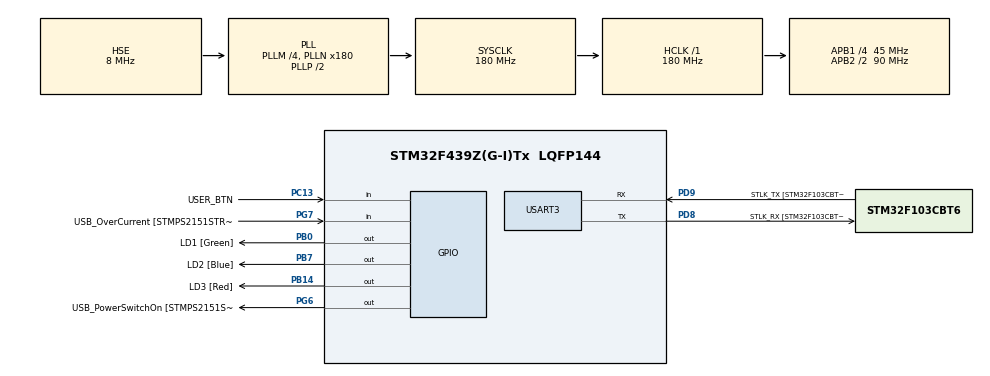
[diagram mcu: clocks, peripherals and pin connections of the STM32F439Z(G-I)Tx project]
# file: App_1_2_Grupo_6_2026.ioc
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Mcu.Family=STM32F4
Mcu.Name=STM32F439Z(G-I)Tx
Mcu.Package=LQFP144
NVIC.PriorityGroup=NVIC_PRIORITYGROUP_4
PA13.GPIO_Label=TMS
PA13.Mode=Serial_Wire
PA13.Signal=SYS_JTMS-SWDIO
PA14.GPIO_Label=TCK
PA14.Mode=Serial_Wire
PA14.Signal=SYS_JTCK-SWCLK
PB0.GPIO_Label=LD1 [Green]
PB0.Signal=GPIO_Output
PB14.GPIO_Label=LD3 [Red]
PB14.Signal=GPIO_Output
PB7.GPIO_Label=LD2 [Blue]
PB7.Signal=GPIO_Output
PC13.GPIO_Label=USER_BTN
PC13.Signal=GPIO_Input
PC14/OSC32_IN.Mode=LSE-External-Oscillator
PC14/OSC32_IN.Signal=RCC_OSC32_IN
PC15/OSC32_OUT.Mode=LSE-External-Oscillator
PC15/OSC32_OUT.Signal=RCC_OSC32_OUT
PD8.GPIO_Label=STLK_RX [STM32F103CBT6_PA3]
PD8.Mode=Asynchronous
PD8.Signal=USART3_TX
PD9.GPIO_Label=STLK_TX [STM32F103CBT6_PA2]
PD9.Mode=Asynchronous
PD9.Signal=USART3_RX
PG6.GPIO_Label=USB_PowerSwitchOn [STMPS2151STR_EN]
PG6.Signal=GPIO_Output
PG7.GPIO_Label=USB_OverCurrent [STMPS2151STR_FAULT]
PG7.Signal=GPIO_Input
PH0/OSC_IN.GPIO_Label=MCO [STM32F103CBT6_PA8]
PH0/OSC_IN.Mode=HSE-External-Oscillator
PH0/OSC_IN.Signal=RCC_OSC_IN
PH1/OSC_OUT.Mode=HSE-External-Oscillator
PH1/OSC_OUT.Signal=RCC_OSC_OUT
ProjectManager.HeapSize=0x200
ProjectManager.StackSize=0x400
ProjectManager.TargetToolchain=STM32CubeIDE
RCC.48MHZClocksFreq_Value=51428571.428571425
RCC.AHBFreq_Value=180000000
RCC.APB1CLKDivider=RCC_HCLK_DIV4
RCC.APB1Freq_Value=45000000
RCC.APB1TimFreq_Value=90000000
RCC.APB2CLKDivider=RCC_HCLK_DIV2
RCC.APB2Freq_Value=90000000
RCC.APB2TimFreq_Value=180000000
RCC.CortexFreq_Value=180000000
RCC.HCLKFreq_Value=180000000
RCC.HSE_VALUE=8000000
RCC.HSI_VALUE=16000000
RCC.PLLM=4
RCC.PLLMUL=RCC_PLL_MUL9
RCC.PLLN=180
RCC.PLLQ=7
RCC.PLLSourceVirtual=RCC_PLLSOURCE_HSE
RCC.PRESCALERUSB=RCC_USBCLKSOURCE_PLL_DIV1_5
RCC.SYSCLKFreq_VALUE=180000000
RCC.SYSCLKSource=RCC_SYSCLKSOURCE_PLLCLK
RCC.SYSCLKSourceVirtual=RCC_SYSCLKSOURCE_PLLCLK
RCC.USBFreq_Value=48000000
RCC.VCOOutputFreq_Value=360000000
USART3.VirtualMode=VM_ASYNC
board=NUCLEO-F439ZI

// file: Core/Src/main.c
/* USER CODE BEGIN Header */
/**
 ******************************************************************************
 * @file           : main.c
 * @brief          : Main program body
 ******************************************************************************
 * @attention
 *
 * Copyright (c) 2026 STMicroelectronics.
 * All rights reserved.
 *
 * This software is licensed under terms that can be found in the LICENSE file
 * in the root directory of this software component.
 * If no LICENSE file comes with this software, it is provided AS-IS.
 *
 ******************************************************************************
 */
/* USER CODE END Header */
#include "main.h"

/* USER CODE BEGIN Includes */
#include "stdbool.h"
/* USER CODE END Includes */

/* USER CODE BEGIN PTD */

/** * @brief Estructura para el mapeo de hardware.
 * Permite desacoplar la lógica de control de los pines físicos.
 */
typedef struct{
	GPIO_TypeDef* port;  	// Puntero a la estructura de registros del puerto (GPIOA, GPIOB, etc.)
	uint16_t pin;       	// Máscara del pin (GPIO_PIN_0, etc.)
} GPIO_Config_t;

/** * @brief Definición de estados para la MEF.
 */
typedef enum{
	Estado_Encendido = 0,
	Estado_Apagado
} Estado_t;

/* USER CODE END PTD */

UART_HandleTypeDef huart3;

/* USER CODE BEGIN PV */

/** * @brief Arreglo de configuración de hardware.
 * Se define como 'const' para residir en Flash y ahorrar RAM.
 */
const GPIO_Config_t leds_array [] = {
		{LD1_GPIO_Port, LD1_Pin},
		{LD2_GPIO_Port, LD2_Pin},
		{LD3_GPIO_Port, LD3_Pin}
};

const uint8_t cant_leds = sizeof (leds_array) / sizeof(leds_array[0]);	// Se calcula automaticamente la cantidad de elementos del array
const uint32_t tiempo = 200;											// Valor constante para las transciciones de Encendido-Apagado
static int indice = 0;													// Variable que iterara el arreglo
static Estado_t estado = Estado_Encendido;								// Estado inicial de la MEF
static int8_t sentido = 1;												// Variable de Estado que determina el sentido de encendido de los leds
static bool btn_presionado = false;										// Bandera para la deteccion de flancos

/* USER CODE END PV */

void SystemClock_Config(void);
static void MX_GPIO_Init(void);
static void MX_USART3_UART_Init(void);

int main(void)
{

	/* MCU Configuration--------------------------------------------------------*/

	/* Reset of all peripherals, Initializes the Flash interface and the Systick. */
	HAL_Init();

	/* Configure the system clock */
	SystemClock_Config();

	/* Initialize all configured peripherals */
	MX_GPIO_Init();
	MX_USART3_UART_Init();

	/* Infinite loop */
	while (1)
	{

		/* USER CODE BEGIN 3 */

				/* 1. Detección de flanco (no bloqueante) */
		        /**
		         * @brief Detector de flanco positivo para el pulsador de usuario.
		         * @details Implementa una lógica de captura de evento única por pulsación (edge).
		         * Al usar una bandera, se evita la repetición de la acción mientras el usuario
		         * mantiene el botón presionado, garantizando una respuesta determinista.
		         */
		        if (HAL_GPIO_ReadPin(USER_BTN_GPIO_Port, USER_BTN_Pin) == GPIO_PIN_SET) {
		            if (!btn_presionado) {
		                sentido *= -1;         // Inversión de dirección (sentido de giro)
		                btn_presionado = true; // Bloquea la acción hasta que se suelte el botón
		            }
		        } else {
		            btn_presionado = false;    // Resetea la bandera al soltar el botón
		        }

		        /* 2. Máquina de Estados (MEF) */
		        /**
		         * @brief Máquina de Estados Finitos para la secuencia de LEDs.
		         * @details Gestiona el ciclo de encendido/apagado y la actualización del índice.
		         * La lógica de navegación es bidireccional, dependiendo de la variable 'sentido'.
		         */
		        switch (estado) {
		        case Estado_Encendido:
		            HAL_GPIO_WritePin(leds_array[indice].port, leds_array[indice].pin, GPIO_PIN_SET);
		            HAL_Delay(tiempo);
		            estado = Estado_Apagado;	// Trancision obligatoria al siguiente estado (apagado)
		            break;

		        case Estado_Apagado:
		            HAL_GPIO_WritePin(leds_array[indice].port, leds_array[indice].pin, GPIO_PIN_RESET);
		            HAL_Delay(tiempo);

		            // Actualización del índice considerando la dirección actual
		            indice += sentido;

		            // Lógica circular para mantener el índice dentro de los límites del arreglo
		            if (indice >= cant_leds) {
		                indice = 0;
		            } else if (indice < 0) {
		                indice = cant_leds - 1;
		            }

		            estado = Estado_Encendido;	// Retorna al estado de Encendido
		            break;

		        default:
		            // Recuperación ante estados indeterminados: Apaga todo y reinicia secuencia
		            for (uint8_t j = 0; j < cant_leds; j++) {
		                HAL_GPIO_WritePin(leds_array[j].port, leds_array[j].pin, GPIO_PIN_RESET);
		            }
					estado = Estado_Encendido;	// Se reinicia al estado inicial
					indice = 0;					// Reinicia al primer elemento del array leds_array
		            break;
		        }

	}
	/* USER CODE END 3 */
}

void SystemClock_Config(void)
{
	RCC_OscInitTypeDef RCC_OscInitStruct = {0};
	RCC_ClkInitTypeDef RCC_ClkInitStruct = {0};

	/** Configure the main internal regulator output voltage
	 */
	__HAL_RCC_PWR_CLK_ENABLE();
	__HAL_PWR_VOLTAGESCALING_CONFIG(PWR_REGULATOR_VOLTAGE_SCALE1);

	/** Initializes the RCC Oscillators according to the specified parameters
	 * in the RCC_OscInitTypeDef structure.
	 */
	RCC_OscInitStruct.OscillatorType = RCC_OSCILLATORTYPE_HSE;
	RCC_OscInitStruct.HSEState = RCC_HSE_ON;
	RCC_OscInitStruct.PLL.PLLState = RCC_PLL_ON;
	RCC_OscInitStruct.PLL.PLLSource = RCC_PLLSOURCE_HSE;
	RCC_OscInitStruct.PLL.PLLM = 4;
	RCC_OscInitStruct.PLL.PLLN = 180;
	RCC_OscInitStruct.PLL.PLLP = RCC_PLLP_DIV2;
	RCC_OscInitStruct.PLL.PLLQ = 7;
	if (HAL_RCC_OscConfig(&RCC_OscInitStruct) != HAL_OK)
	{
		Error_Handler();
	}

	/** Activate the Over-Drive mode
	 */
	if (HAL_PWREx_EnableOverDrive() != HAL_OK)
	{
		Error_Handler();
	}

	/** Initializes the CPU, AHB and APB buses clocks
	 */
	RCC_ClkInitStruct.ClockType = RCC_CLOCKTYPE_HCLK|RCC_CLOCKTYPE_SYSCLK
			|RCC_CLOCKTYPE_PCLK1|RCC_CLOCKTYPE_PCLK2;
	RCC_ClkInitStruct.SYSCLKSource = RCC_SYSCLKSOURCE_PLLCLK;
	RCC_ClkInitStruct.AHBCLKDivider = RCC_SYSCLK_DIV1;
	RCC_ClkInitStruct.APB1CLKDivider = RCC_HCLK_DIV4;
	RCC_ClkInitStruct.APB2CLKDivider = RCC_HCLK_DIV2;

	if (HAL_RCC_ClockConfig(&RCC_ClkInitStruct, FLASH_LATENCY_5) != HAL_OK)
	{
		Error_Handler();
	}
}

static void MX_USART3_UART_Init(void)
{

	huart3.Instance = USART3;
	huart3.Init.BaudRate = 115200;
	huart3.Init.WordLength = UART_WORDLENGTH_8B;
	huart3.Init.StopBits = UART_STOPBITS_1;
	huart3.Init.Parity = UART_PARITY_NONE;
	huart3.Init.Mode = UART_MODE_TX_RX;
	huart3.Init.HwFlowCtl = UART_HWCONTROL_NONE;
	huart3.Init.OverSampling = UART_OVERSAMPLING_16;
	if (HAL_UART_Init(&huart3) != HAL_OK)
	{
		Error_Handler();
	}

}

static void MX_GPIO_Init(void)
{
	GPIO_InitTypeDef GPIO_InitStruct = {0};

	/* GPIO Ports Clock Enable */
	__HAL_RCC_GPIOC_CLK_ENABLE();
	__HAL_RCC_GPIOH_CLK_ENABLE();
	__HAL_RCC_GPIOB_CLK_ENABLE();
	__HAL_RCC_GPIOD_CLK_ENABLE();
	__HAL_RCC_GPIOG_CLK_ENABLE();
	__HAL_RCC_GPIOA_CLK_ENABLE();

	/*Configure GPIO pin Output Level */
	HAL_GPIO_WritePin(GPIOB, LD1_Pin|LD3_Pin|LD2_Pin, GPIO_PIN_RESET);

	/*Configure GPIO pin Output Level */
	HAL_GPIO_WritePin(USB_PowerSwitchOn_GPIO_Port, USB_PowerSwitchOn_Pin, GPIO_PIN_RESET);

	/*Configure GPIO pin : USER_BTN_Pin */
	GPIO_InitStruct.Pin = USER_BTN_Pin;
	GPIO_InitStruct.Mode = GPIO_MODE_INPUT;
	GPIO_InitStruct.Pull = GPIO_NOPULL;
	HAL_GPIO_Init(USER_BTN_GPIO_Port, &GPIO_InitStruct);

	/*Configure GPIO pins : LD1_Pin LD3_Pin LD2_Pin */
	GPIO_InitStruct.Pin = LD1_Pin|LD3_Pin|LD2_Pin;
	GPIO_InitStruct.Mode = GPIO_MODE_OUTPUT_PP;
	GPIO_InitStruct.Pull = GPIO_NOPULL;
	GPIO_InitStruct.Speed = GPIO_SPEED_FREQ_LOW;
	HAL_GPIO_Init(GPIOB, &GPIO_InitStruct);

	/*Configure GPIO pin : USB_PowerSwitchOn_Pin */
	GPIO_InitStruct.Pin = USB_PowerSwitchOn_Pin;
	GPIO_InitStruct.Mode = GPIO_MODE_OUTPUT_PP;
	GPIO_InitStruct.Pull = GPIO_NOPULL;
	GPIO_InitStruct.Speed = GPIO_SPEED_FREQ_LOW;
	HAL_GPIO_Init(USB_PowerSwitchOn_GPIO_Port, &GPIO_InitStruct);

	/*Configure GPIO pin : USB_OverCurrent_Pin */
	GPIO_InitStruct.Pin = USB_OverCurrent_Pin;
	GPIO_InitStruct.Mode = GPIO_MODE_INPUT;
	GPIO_InitStruct.Pull = GPIO_NOPULL;
	HAL_GPIO_Init(USB_OverCurrent_GPIO_Port, &GPIO_InitStruct);

}

void Error_Handler(void)
{
	__disable_irq();
	while (1)
	{
	}
}
